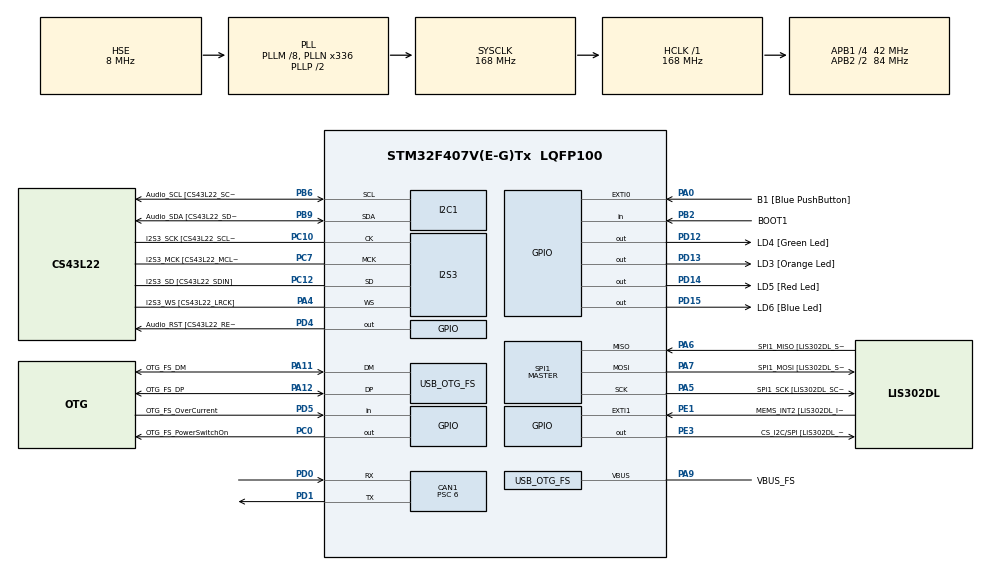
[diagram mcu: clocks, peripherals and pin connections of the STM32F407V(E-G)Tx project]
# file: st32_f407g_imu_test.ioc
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CAN1.BS1=CAN_BS1_12TQ
CAN1.CalculateBaudRate=500000
CAN1.CalculateTimeBit=2000
CAN1.CalculateTimeQuantum=142.85714285714286
CAN1.Prescaler=6
I2C1.I2C_Mode=I2C_Fast
I2S3.AudioFreq-Half_Duplex_Master=I2S_AUDIOFREQ_96K
I2S3.ErrorAudioFreq=-2.34 %
I2S3.ErrorAudioFreq-Half_Duplex_Master=0.8 %
I2S3.FullDuplexMode=I2S_FULLDUPLEXMODE_DISABLE
I2S3.Instance=SPI$Index
I2S3.RealAudioFreq=93.75 KHz
I2S3.RealAudioFreq-Half_Duplex_Master=96.774 KHz
I2S3.VirtualMode=I2S_MODE_MASTER
Mcu.Family=STM32F4
Mcu.Name=STM32F407V(E-G)Tx
Mcu.Package=LQFP100
NVIC.CAN1_RX0_IRQn=true\:0\:0\:false\:false\:true\:true\:true\:true
NVIC.OTG_FS_IRQn=true\:0\:0\:false\:false\:true\:true\:true\:true
NVIC.PriorityGroup=NVIC_PRIORITYGROUP_0
PA0-WKUP.GPIO_Label=B1 [Blue PushButton]
PA0-WKUP.GPIO_ModeDefaultEXTI=GPIO_MODE_EVT_RISING
PA0-WKUP.GPIO_PuPd=GPIO_NOPULL
PA0-WKUP.Signal=GPXTI0
PA10.GPIO_Label=OTG_FS_ID
PA10.GPIO_Mode=GPIO_MODE_AF_PP
PA10.GPIO_PuPd=GPIO_NOPULL
PA10.GPIO_Speed=GPIO_SPEED_FREQ_LOW
PA10.Signal=USB_OTG_FS_ID
PA11.GPIO_Label=OTG_FS_DM
PA11.GPIO_Mode=GPIO_MODE_AF_PP
PA11.GPIO_PuPd=GPIO_NOPULL
PA11.GPIO_Speed=GPIO_SPEED_FREQ_LOW
PA11.Mode=Host_Only
PA11.Signal=USB_OTG_FS_DM
PA12.GPIO_Label=OTG_FS_DP
PA12.GPIO_Mode=GPIO_MODE_AF_PP
PA12.GPIO_PuPd=GPIO_NOPULL
PA12.GPIO_Speed=GPIO_SPEED_FREQ_LOW
PA12.Mode=Host_Only
PA12.Signal=USB_OTG_FS_DP
PA13.GPIO_Label=SWDIO
PA13.Mode=Serial_Wire
PA13.Signal=SYS_JTMS-SWDIO
PA14.GPIO_Label=SWCLK
PA14.Mode=Serial_Wire
PA14.Signal=SYS_JTCK-SWCLK
PA4.GPIO_Label=I2S3_WS [CS43L22_LRCK]
PA4.GPIO_Mode=GPIO_MODE_AF_PP
PA4.GPIO_PuPd=GPIO_NOPULL
PA4.GPIO_Speed=GPIO_SPEED_FREQ_LOW
PA4.Mode=Half_Duplex_Master
PA4.Signal=I2S3_WS
PA5.GPIO_Label=SPI1_SCK [LIS302DL_SCL/SPC]
PA5.GPIO_Mode=GPIO_MODE_AF_PP
PA5.GPIO_PuPd=GPIO_NOPULL
PA5.GPIO_Speed=GPIO_SPEED_FREQ_LOW
PA5.Mode=Full_Duplex_Master
PA5.Signal=SPI1_SCK
PA6.GPIO_Label=SPI1_MISO [LIS302DL_SDO]
PA6.GPIO_Mode=GPIO_MODE_AF_PP
PA6.GPIO_PuPd=GPIO_NOPULL
PA6.GPIO_Speed=GPIO_SPEED_FREQ_LOW
PA6.Mode=Full_Duplex_Master
PA6.Signal=SPI1_MISO
PA7.GPIO_Label=SPI1_MOSI [LIS302DL_SDA/SDI/SDO]
PA7.GPIO_Mode=GPIO_MODE_AF_PP
PA7.GPIO_PuPd=GPIO_NOPULL
PA7.GPIO_Speed=GPIO_SPEED_FREQ_LOW
PA7.Mode=Full_Duplex_Master
PA7.Signal=SPI1_MOSI
PA9.GPIO_Label=VBUS_FS
PA9.GPIO_Mode=GPIO_MODE_INPUT
PA9.GPIO_PuPd=GPIO_NOPULL
PA9.Mode=Activate_VBUS
PA9.Signal=USB_OTG_FS_VBUS
PB10.GPIO_Label=CLK_IN [MP45DT02_CLK]
PB10.GPIO_Mode=GPIO_MODE_AF_PP
PB10.GPIO_PuPd=GPIO_NOPULL
PB10.GPIO_Speed=GPIO_SPEED_FREQ_LOW
PB10.Signal=I2S2_CK
PB13.Signal=CAN2_TX
PB2.GPIO_Label=BOOT1
PB2.GPIO_Mode=GPIO_MODE_INPUT
PB2.GPIO_PuPd=GPIO_NOPULL
PB2.Signal=GPIO_Input
PB3.GPIO_Label=SWO
PB3.Signal=SYS_JTDO-SWO
PB6.GPIO_Label=Audio_SCL [CS43L22_SCL]
PB6.GPIO_Mode=GPIO_MODE_AF_OD
PB6.GPIO_Pu=GPIO_PULLUP
PB6.GPIO_PuPd=GPIO_NOPULL
PB6.GPIO_Speed=GPIO_SPEED_FREQ_LOW
PB6.Mode=I2C
PB6.Signal=I2C1_SCL
PB9.GPIO_Label=Audio_SDA [CS43L22_SDA]
PB9.GPIO_Mode=GPIO_MODE_AF_OD
PB9.GPIO_Pu=GPIO_PULLUP
PB9.GPIO_PuPd=GPIO_NOPULL
PB9.GPIO_Speed=GPIO_SPEED_FREQ_LOW
PB9.Mode=I2C
PB9.Signal=I2C1_SDA
PC0.GPIO_Label=OTG_FS_PowerSwitchOn
PC0.GPIO_PuPd=GPIO_NOPULL
PC0.GPIO_Speed=GPIO_SPEED_FREQ_LOW
PC0.PinState=GPIO_PIN_SET
PC0.Signal=GPIO_Output
PC10.GPIO_Label=I2S3_SCK [CS43L22_SCLK]
PC10.GPIO_Mode=GPIO_MODE_AF_PP
PC10.GPIO_PuPd=GPIO_NOPULL
PC10.GPIO_Speed=GPIO_SPEED_FREQ_LOW
PC10.Mode=Half_Duplex_Master
PC10.Signal=I2S3_CK
PC12.GPIO_Label=I2S3_SD [CS43L22_SDIN]
PC12.GPIO_Mode=GPIO_MODE_AF_PP
PC12.GPIO_PuPd=GPIO_NOPULL
PC12.GPIO_Speed=GPIO_SPEED_FREQ_LOW
PC12.Mode=Half_Duplex_Master
PC12.Signal=I2S3_SD
PC14-OSC32_IN.GPIO_Label=PC14-OSC32_IN
PC14-OSC32_IN.Mode=LSE-External-Oscillator
PC14-OSC32_IN.Signal=RCC_OSC32_IN
PC15-OSC32_OUT.GPIO_Label=PC15-OSC32_OUT
PC15-OSC32_OUT.Mode=LSE-External-Oscillator
PC15-OSC32_OUT.Signal=RCC_OSC32_OUT
PC3.GPIO_Label=PDM_OUT [MP45DT02_DOUT]
PC3.GPIO_Mode=GPIO_MODE_AF_PP
PC3.GPIO_PuPd=GPIO_NOPULL
PC3.GPIO_Speed=GPIO_SPEED_FREQ_LOW
PC3.Signal=I2S2_SD
PC7.GPIO_Label=I2S3_MCK [CS43L22_MCLK]
PC7.GPIO_Mode=GPIO_MODE_AF_PP
PC7.GPIO_PuPd=GPIO_NOPULL
PC7.GPIO_Speed=GPIO_SPEED_FREQ_LOW
PC7.Mode=Master_Clock_Activated
PC7.Signal=I2S3_MCK
PD0.Mode=CAN_Activate
PD0.Signal=CAN1_RX
PD1.Mode=CAN_Activate
PD1.Signal=CAN1_TX
PD12.GPIO_Label=LD4 [Green Led]
PD12.GPIO_PuPd=GPIO_NOPULL
PD12.GPIO_Speed=GPIO_SPEED_FREQ_LOW
PD12.Signal=GPIO_Output
PD13.GPIO_Label=LD3 [Orange Led]
PD13.GPIO_PuPd=GPIO_NOPULL
PD13.GPIO_Speed=GPIO_SPEED_FREQ_LOW
PD13.Signal=GPIO_Output
PD14.GPIO_Label=LD5 [Red Led]
PD14.GPIO_PuPd=GPIO_NOPULL
PD14.GPIO_Speed=GPIO_SPEED_FREQ_LOW
PD14.Signal=GPIO_Output
PD15.GPIO_Label=LD6 [Blue Led]
PD15.GPIO_PuPd=GPIO_NOPULL
PD15.GPIO_Speed=GPIO_SPEED_FREQ_LOW
PD15.Signal=GPIO_Output
PD4.GPIO_Label=Audio_RST [CS43L22_RESET]
PD4.GPIO_PuPd=GPIO_NOPULL
PD4.GPIO_Speed=GPIO_SPEED_FREQ_LOW
PD4.Signal=GPIO_Output
PD5.GPIO_Label=OTG_FS_OverCurrent
PD5.GPIO_Mode=GPIO_MODE_INPUT
PD5.GPIO_PuPd=GPIO_NOPULL
PD5.Signal=GPIO_Input
PE1.GPIO_Label=MEMS_INT2 [LIS302DL_INT2]
PE1.GPIO_ModeDefaultEXTI=GPIO_MODE_EVT_RISING
PE1.GPIO_PuPd=GPIO_NOPULL
PE1.Signal=GPXTI1
PE3.GPIO_Label=CS_I2C/SPI [LIS302DL_CS_I2C/SPI]
PE3.GPIO_PuPd=GPIO_NOPULL
PE3.GPIO_Speed=GPIO_SPEED_FREQ_LOW
PE3.Signal=GPIO_Output
PH0-OSC_IN.GPIO_Label=PH0-OSC_IN
PH0-OSC_IN.Mode=HSE-External-Oscillator
PH0-OSC_IN.Signal=RCC_OSC_IN
PH1-OSC_OUT.GPIO_Label=PH1-OSC_OUT
PH1-OSC_OUT.Mode=HSE-External-Oscillator
PH1-OSC_OUT.Signal=RCC_OSC_OUT
ProjectManager.HeapSize=0x200
ProjectManager.StackSize=0x400
ProjectManager.TargetToolchain=STM32CubeIDE
RCC.48MHZClocksFreq_Value=48000000
RCC.AHBFreq_Value=168000000
RCC.APB1CLKDivider=RCC_HCLK_DIV4
RCC.APB1Freq_Value=42000000
RCC.APB1TimFreq_Value=84000000
RCC.APB2CLKDivider=RCC_HCLK_DIV2
RCC.APB2Freq_Value=84000000
RCC.APB2TimFreq_Value=168000000
RCC.CortexFreq_Value=168000000
RCC.HCLKFreq_Value=168000000
RCC.HSE_VALUE=8000000
RCC.HSI_VALUE=16000000
RCC.PLLM=8
RCC.PLLN=336
RCC.PLLQ=7
RCC.SYSCLKFreq_VALUE=168000000
RCC.SYSCLKSource=RCC_SYSCLKSOURCE_PLLCLK
RCC.VCOOutputFreq_Value=336000000
SPI1.BaudRatePrescaler-Full_Duplex_Master=SPI_BAUDRATEPRESCALER_2
SPI1.CalculateBaudRate-Full_Duplex_Master=42.0 MBits/s
SPI1.Direction=SPI_DIRECTION_2LINES
SPI1.Mode=SPI_MODE_MASTER
SPI1.Mode-Full_Duplex_Master=SPI_MODE_MASTER
SPI1.VirtualType=VM_MASTER
USB_HOST.BSP.number=1
USB_HOST.USBH_HandleTypeDef-CDC_FS=hUsbHostFS
USB_HOST.VirtualModeFS=Cdc
USB_HOST0.BSP.STBoard=false
USB_HOST0.BSP.api=Unknown
USB_HOST0.BSP.instance=PC0
USB_HOST0.BSP.ip=GPIO
USB_HOST0.BSP.mode=Output
USB_HOST0.BSP.name=Drive_VBUS_FS
USB_HOST0.BSP.solution=PC0
USB_OTG_FS.VirtualMode=Host_Only
USB_OTG_FS.phy_itface=HCD_PHY_EMBEDDED
VP_USB_HOST_VS_USB_HOST_CDC_FS.Mode=CDC_FS
board=STM32F407G-DISC1

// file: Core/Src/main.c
/* USER CODE BEGIN Header */
/**
  ******************************************************************************
  * @file           : main.c
  * @brief          : Main program body
  ******************************************************************************
  * @attention
  *
  * Copyright (c) 2026 STMicroelectronics.
  * All rights reserved.
  *
  * This software is licensed under terms that can be found in the LICENSE file
  * in the root directory of this software component.
  * If no LICENSE file comes with this software, it is provided AS-IS.
  *
  ******************************************************************************
  */
/* USER CODE END Header */
#include "main.h"
#include "usb_host.h"

CAN_HandleTypeDef hcan1;

I2C_HandleTypeDef hi2c1;

I2S_HandleTypeDef hi2s3;

SPI_HandleTypeDef hspi1;

/* USER CODE BEGIN PV */
CAN_TxHeaderTypeDef TxHeader;
CAN_RxHeaderTypeDef RxHeader;
uint8_t TxData[8];
uint8_t RxData[8];
uint32_t TxMailbox;

/* 수신한 H723 카운터를 그대로 응답에 실어 보낸다 */
volatile uint32_t last_rx_counter = 0;
volatile uint32_t rx_count = 0;
volatile uint32_t tx_count = 0;
volatile uint32_t tx_error_count = 0;
/* USER CODE END PV */

void SystemClock_Config(void);
static void MX_GPIO_Init(void);
static void MX_CAN1_Init(void);
static void MX_I2C1_Init(void);
static void MX_I2S3_Init(void);
static void MX_SPI1_Init(void);
void MX_USB_HOST_Process(void);

/* USER CODE BEGIN PFP */
static uint32_t CAN_ReadU32LE(const uint8_t *data);
static void CAN_WriteU32LE(uint8_t *data, uint32_t value);
/* USER CODE END PFP */

/* USER CODE BEGIN 0 */
static void CAN_WriteU32LE(uint8_t *data, uint32_t value)
{
    data[0] = (uint8_t)(value & 0xFFU);
    data[1] = (uint8_t)((value >> 8) & 0xFFU);
    data[2] = (uint8_t)((value >> 16) & 0xFFU);
    data[3] = (uint8_t)((value >> 24) & 0xFFU);
}

static uint32_t CAN_ReadU32LE(const uint8_t *data)
{
    return ((uint32_t)data[0]) |
           ((uint32_t)data[1] << 8) |
           ((uint32_t)data[2] << 16) |
           ((uint32_t)data[3] << 24);
}
/* USER CODE END 0 */

int main(void)
{

  /* MCU Configuration--------------------------------------------------------*/

  /* Reset of all peripherals, Initializes the Flash interface and the Systick. */
  HAL_Init();

  /* Configure the system clock */
  SystemClock_Config();

  /* Initialize all configured peripherals */
  MX_GPIO_Init();
  MX_CAN1_Init();
  MX_I2C1_Init();
  MX_I2S3_Init();
  MX_SPI1_Init();
  MX_USB_HOST_Init();
  /* USER CODE BEGIN 2 */
  CAN_FilterTypeDef sFilterConfig;
  sFilterConfig.FilterBank = 0;
  sFilterConfig.FilterMode = CAN_FILTERMODE_IDMASK;
  sFilterConfig.FilterScale = CAN_FILTERSCALE_32BIT;
  /* Standard ID 0x101만 받도록: ID << 5, Mask도 Standard 11bit 전부 비교 */
  sFilterConfig.FilterIdHigh = (0x101 << 5);
  sFilterConfig.FilterIdLow = 0x0000;
  sFilterConfig.FilterMaskIdHigh = (0x7FF << 5);
  sFilterConfig.FilterMaskIdLow = 0x0000;
  sFilterConfig.FilterFIFOAssignment = CAN_RX_FIFO0;
  sFilterConfig.FilterActivation = ENABLE;

  if (HAL_CAN_ConfigFilter(&hcan1, &sFilterConfig) != HAL_OK)
  {
    HAL_GPIO_WritePin(GPIOD, LD3_Pin, GPIO_PIN_SET);
    Error_Handler();
  }

  if (HAL_CAN_Start(&hcan1) != HAL_OK)
  {
    HAL_GPIO_WritePin(GPIOD, LD4_Pin, GPIO_PIN_SET);
    Error_Handler();
  }

  if (HAL_CAN_ActivateNotification(&hcan1, CAN_IT_RX_FIFO0_MSG_PENDING) != HAL_OK)
  {
    Error_Handler();
  }

  /* 응답용 헤더: ID 0x181, 8바이트 */
  TxHeader.StdId = 0x181;
  TxHeader.ExtId = 0x01;
  TxHeader.RTR = CAN_RTR_DATA;
  TxHeader.IDE = CAN_ID_STD;
  TxHeader.DLC = 8;
  TxHeader.TransmitGlobalTime = DISABLE;
  /* USER CODE END 2 */

  /* Infinite loop */
  /* USER CODE BEGIN WHILE */
  while (1)
  {
    HAL_Delay(10);
    MX_USB_HOST_Process();
    /* USER CODE END WHILE */
    MX_USB_HOST_Process();

  }
}

void SystemClock_Config(void)
{
  RCC_OscInitTypeDef RCC_OscInitStruct = {0};
  RCC_ClkInitTypeDef RCC_ClkInitStruct = {0};

  /** Configure the main internal regulator output voltage
  */
  __HAL_RCC_PWR_CLK_ENABLE();
  __HAL_PWR_VOLTAGESCALING_CONFIG(PWR_REGULATOR_VOLTAGE_SCALE1);

  /** Initializes the RCC Oscillators according to the specified parameters
  * in the RCC_OscInitTypeDef structure.
  */
  RCC_OscInitStruct.OscillatorType = RCC_OSCILLATORTYPE_HSE;
  RCC_OscInitStruct.HSEState = RCC_HSE_ON;
  RCC_OscInitStruct.PLL.PLLState = RCC_PLL_ON;
  RCC_OscInitStruct.PLL.PLLSource = RCC_PLLSOURCE_HSE;
  RCC_OscInitStruct.PLL.PLLM = 8;
  RCC_OscInitStruct.PLL.PLLN = 336;
  RCC_OscInitStruct.PLL.PLLP = RCC_PLLP_DIV2;
  RCC_OscInitStruct.PLL.PLLQ = 7;
  if (HAL_RCC_OscConfig(&RCC_OscInitStruct) != HAL_OK)
  {
    Error_Handler();
  }

  /** Initializes the CPU, AHB and APB buses clocks
  */
  RCC_ClkInitStruct.ClockType = RCC_CLOCKTYPE_HCLK|RCC_CLOCKTYPE_SYSCLK
                              |RCC_CLOCKTYPE_PCLK1|RCC_CLOCKTYPE_PCLK2;
  RCC_ClkInitStruct.SYSCLKSource = RCC_SYSCLKSOURCE_PLLCLK;
  RCC_ClkInitStruct.AHBCLKDivider = RCC_SYSCLK_DIV1;
  RCC_ClkInitStruct.APB1CLKDivider = RCC_HCLK_DIV4;
  RCC_ClkInitStruct.APB2CLKDivider = RCC_HCLK_DIV2;

  if (HAL_RCC_ClockConfig(&RCC_ClkInitStruct, FLASH_LATENCY_5) != HAL_OK)
  {
    Error_Handler();
  }
}

static void MX_CAN1_Init(void)
{

  hcan1.Instance = CAN1;
  hcan1.Init.Prescaler = 6;
  hcan1.Init.Mode = CAN_MODE_NORMAL;
  hcan1.Init.SyncJumpWidth = CAN_SJW_1TQ;
  hcan1.Init.TimeSeg1 = CAN_BS1_12TQ;
  hcan1.Init.TimeSeg2 = CAN_BS2_1TQ;
  hcan1.Init.TimeTriggeredMode = DISABLE;
  hcan1.Init.AutoBusOff = DISABLE;
  hcan1.Init.AutoWakeUp = DISABLE;
  hcan1.Init.AutoRetransmission = DISABLE;
  hcan1.Init.ReceiveFifoLocked = DISABLE;
  hcan1.Init.TransmitFifoPriority = DISABLE;
  if (HAL_CAN_Init(&hcan1) != HAL_OK)
  {
    Error_Handler();
  }

}

static void MX_I2C1_Init(void)
{

  hi2c1.Instance = I2C1;
  hi2c1.Init.ClockSpeed = 400000;
  hi2c1.Init.DutyCycle = I2C_DUTYCYCLE_2;
  hi2c1.Init.OwnAddress1 = 0;
  hi2c1.Init.AddressingMode = I2C_ADDRESSINGMODE_7BIT;
  hi2c1.Init.DualAddressMode = I2C_DUALADDRESS_DISABLE;
  hi2c1.Init.OwnAddress2 = 0;
  hi2c1.Init.GeneralCallMode = I2C_GENERALCALL_DISABLE;
  hi2c1.Init.NoStretchMode = I2C_NOSTRETCH_DISABLE;
  if (HAL_I2C_Init(&hi2c1) != HAL_OK)
  {
    Error_Handler();
  }

}

static void MX_I2S3_Init(void)
{

  hi2s3.Instance = SPI3;
  hi2s3.Init.Mode = I2S_MODE_MASTER_TX;
  hi2s3.Init.Standard = I2S_STANDARD_PHILIPS;
  hi2s3.Init.DataFormat = I2S_DATAFORMAT_16B;
  hi2s3.Init.MCLKOutput = I2S_MCLKOUTPUT_ENABLE;
  hi2s3.Init.AudioFreq = I2S_AUDIOFREQ_96K;
  hi2s3.Init.CPOL = I2S_CPOL_LOW;
  hi2s3.Init.ClockSource = I2S_CLOCK_PLL;
  hi2s3.Init.FullDuplexMode = I2S_FULLDUPLEXMODE_DISABLE;
  if (HAL_I2S_Init(&hi2s3) != HAL_OK)
  {
    Error_Handler();
  }

}

static void MX_SPI1_Init(void)
{

  /* SPI1 parameter configuration*/
  hspi1.Instance = SPI1;
  hspi1.Init.Mode = SPI_MODE_MASTER;
  hspi1.Init.Direction = SPI_DIRECTION_2LINES;
  hspi1.Init.DataSize = SPI_DATASIZE_8BIT;
  hspi1.Init.CLKPolarity = SPI_POLARITY_LOW;
  hspi1.Init.CLKPhase = SPI_PHASE_1EDGE;
  hspi1.Init.NSS = SPI_NSS_SOFT;
  hspi1.Init.BaudRatePrescaler = SPI_BAUDRATEPRESCALER_2;
  hspi1.Init.FirstBit = SPI_FIRSTBIT_MSB;
  hspi1.Init.TIMode = SPI_TIMODE_DISABLE;
  hspi1.Init.CRCCalculation = SPI_CRCCALCULATION_DISABLE;
  hspi1.Init.CRCPolynomial = 10;
  if (HAL_SPI_Init(&hspi1) != HAL_OK)
  {
    Error_Handler();
  }

}

static void MX_GPIO_Init(void)
{
  GPIO_InitTypeDef GPIO_InitStruct = {0};

  /* GPIO Ports Clock Enable */
  __HAL_RCC_GPIOE_CLK_ENABLE();
  __HAL_RCC_GPIOC_CLK_ENABLE();
  __HAL_RCC_GPIOH_CLK_ENABLE();
  __HAL_RCC_GPIOA_CLK_ENABLE();
  __HAL_RCC_GPIOB_CLK_ENABLE();
  __HAL_RCC_GPIOD_CLK_ENABLE();

  /*Configure GPIO pin Output Level */
  HAL_GPIO_WritePin(CS_I2C_SPI_GPIO_Port, CS_I2C_SPI_Pin, GPIO_PIN_RESET);

  /*Configure GPIO pin Output Level */
  HAL_GPIO_WritePin(OTG_FS_PowerSwitchOn_GPIO_Port, OTG_FS_PowerSwitchOn_Pin, GPIO_PIN_SET);

  /*Configure GPIO pin Output Level */
  HAL_GPIO_WritePin(GPIOD, LD4_Pin|LD3_Pin|LD5_Pin|LD6_Pin
                          |Audio_RST_Pin, GPIO_PIN_RESET);

  /*Configure GPIO pin : CS_I2C_SPI_Pin */
  GPIO_InitStruct.Pin = CS_I2C_SPI_Pin;
  GPIO_InitStruct.Mode = GPIO_MODE_OUTPUT_PP;
  GPIO_InitStruct.Pull = GPIO_NOPULL;
  GPIO_InitStruct.Speed = GPIO_SPEED_FREQ_LOW;
  HAL_GPIO_Init(CS_I2C_SPI_GPIO_Port, &GPIO_InitStruct);

  /*Configure GPIO pin : OTG_FS_PowerSwitchOn_Pin */
  GPIO_InitStruct.Pin = OTG_FS_PowerSwitchOn_Pin;
  GPIO_InitStruct.Mode = GPIO_MODE_OUTPUT_PP;
  GPIO_InitStruct.Pull = GPIO_NOPULL;
  GPIO_InitStruct.Speed = GPIO_SPEED_FREQ_LOW;
  HAL_GPIO_Init(OTG_FS_PowerSwitchOn_GPIO_Port, &GPIO_InitStruct);

  /*Configure GPIO pin : PDM_OUT_Pin */
  GPIO_InitStruct.Pin = PDM_OUT_Pin;
  GPIO_InitStruct.Mode = GPIO_MODE_AF_PP;
  GPIO_InitStruct.Pull = GPIO_NOPULL;
  GPIO_InitStruct.Speed = GPIO_SPEED_FREQ_LOW;
  GPIO_InitStruct.Alternate = GPIO_AF5_SPI2;
  HAL_GPIO_Init(PDM_OUT_GPIO_Port, &GPIO_InitStruct);

  /*Configure GPIO pin : B1_Pin */
  GPIO_InitStruct.Pin = B1_Pin;
  GPIO_InitStruct.Mode = GPIO_MODE_EVT_RISING;
  GPIO_InitStruct.Pull = GPIO_NOPULL;
  HAL_GPIO_Init(B1_GPIO_Port, &GPIO_InitStruct);

  /*Configure GPIO pin : BOOT1_Pin */
  GPIO_InitStruct.Pin = BOOT1_Pin;
  GPIO_InitStruct.Mode = GPIO_MODE_INPUT;
  GPIO_InitStruct.Pull = GPIO_NOPULL;
  HAL_GPIO_Init(BOOT1_GPIO_Port, &GPIO_InitStruct);

  /*Configure GPIO pin : CLK_IN_Pin */
  GPIO_InitStruct.Pin = CLK_IN_Pin;
  GPIO_InitStruct.Mode = GPIO_MODE_AF_PP;
  GPIO_InitStruct.Pull = GPIO_NOPULL;
  GPIO_InitStruct.Speed = GPIO_SPEED_FREQ_LOW;
  GPIO_InitStruct.Alternate = GPIO_AF5_SPI2;
  HAL_GPIO_Init(CLK_IN_GPIO_Port, &GPIO_InitStruct);

  /*Configure GPIO pins : LD4_Pin LD3_Pin LD5_Pin LD6_Pin
                           Audio_RST_Pin */
  GPIO_InitStruct.Pin = LD4_Pin|LD3_Pin|LD5_Pin|LD6_Pin
                          |Audio_RST_Pin;
  GPIO_InitStruct.Mode = GPIO_MODE_OUTPUT_PP;
  GPIO_InitStruct.Pull = GPIO_NOPULL;
  GPIO_InitStruct.Speed = GPIO_SPEED_FREQ_LOW;
  HAL_GPIO_Init(GPIOD, &GPIO_InitStruct);

  /*Configure GPIO pin : OTG_FS_OverCurrent_Pin */
  GPIO_InitStruct.Pin = OTG_FS_OverCurrent_Pin;
  GPIO_InitStruct.Mode = GPIO_MODE_INPUT;
  GPIO_InitStruct.Pull = GPIO_NOPULL;
  HAL_GPIO_Init(OTG_FS_OverCurrent_GPIO_Port, &GPIO_InitStruct);

  /*Configure GPIO pin : MEMS_INT2_Pin */
  GPIO_InitStruct.Pin = MEMS_INT2_Pin;
  GPIO_InitStruct.Mode = GPIO_MODE_EVT_RISING;
  GPIO_InitStruct.Pull = GPIO_NOPULL;
  HAL_GPIO_Init(MEMS_INT2_GPIO_Port, &GPIO_InitStruct);

}

/* USER CODE BEGIN 4 */
void HAL_CAN_RxFifo0MsgPendingCallback(CAN_HandleTypeDef *hcan)
{
  if (HAL_CAN_GetRxMessage(hcan, CAN_RX_FIFO0, &RxHeader, RxData) == HAL_OK)
  {
    if (RxHeader.StdId == 0x101 &&
        RxHeader.DLC == 8 &&
        RxData[0] == 0xA5 &&
        RxData[1] == 0x5A &&
        RxData[2] == 0x01 &&
        RxData[3] == 0x01)
    {
      rx_count++;
      last_rx_counter = CAN_ReadU32LE(&RxData[4]);

      /* 응답 프레임 조립: 5A A5 01 02 + 같은 카운터 */
      TxData[0] = 0x5A;
      TxData[1] = 0xA5;
      TxData[2] = 0x01;
      TxData[3] = 0x02;
      CAN_WriteU32LE(&TxData[4], last_rx_counter);

      if (HAL_CAN_AddTxMessage(&hcan1, &TxHeader, TxData, &TxMailbox) == HAL_OK)
      {
        tx_count++;
        HAL_GPIO_TogglePin(GPIOD, LD6_Pin);
      }
      else
      {
        tx_error_count++;
      }
    }
  }
}
/* USER CODE END 4 */

void Error_Handler(void)
{
  /* USER CODE BEGIN Error_Handler_Debug */
  __disable_irq();
  while (1)
  {
    HAL_GPIO_TogglePin(GPIOD, LD5_Pin);
    for (volatile int i = 0; i < 1000000; i++);
  }
  /* USER CODE END Error_Handler_Debug */
}
